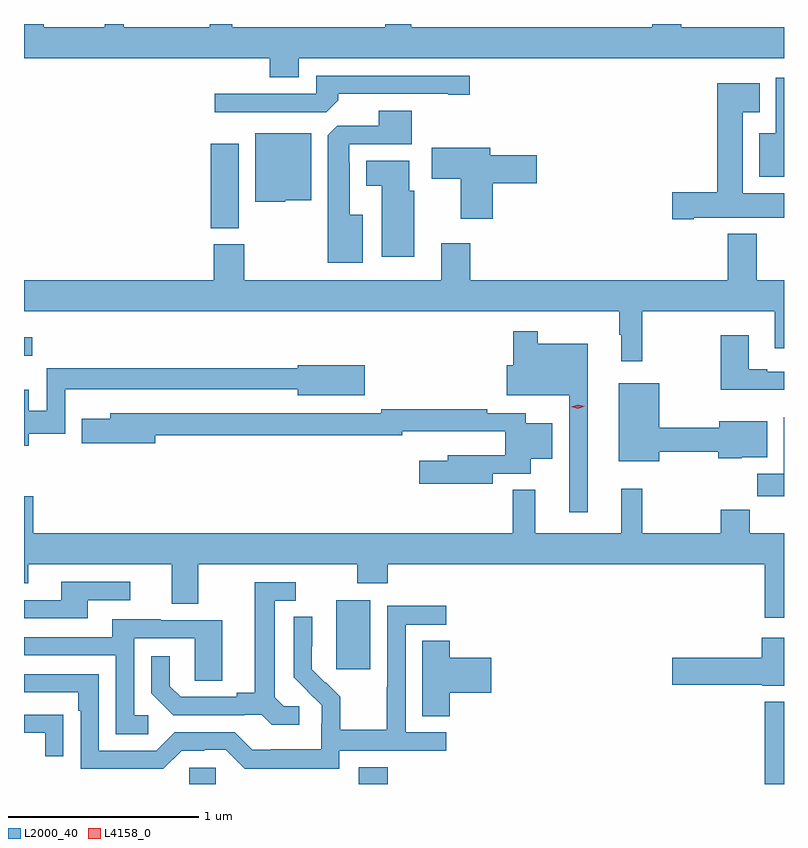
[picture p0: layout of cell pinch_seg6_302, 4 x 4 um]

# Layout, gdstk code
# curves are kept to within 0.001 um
import gdstk
lib = gdstk.Library(unit=1e-6, precision=1e-09)
def R(c, l, rs):  # rectangles x0, y0, x1, y1
    for r in rs: c.add(gdstk.rectangle(r[:2], r[2:], *l))
def P(c, l, *ps):  # polygons
    for p in ps: c.add(gdstk.Polygon(p, *l))
L2000_40 = (2000, 40)
L4158_0 = (4158, 0)

pinch_seg6_302 = lib.new_cell('pinch_seg6_302')
R(pinch_seg6_302, L2000_40, [(662.739,962.164,662.877,962.25), (663.629,962.164,663.782,962.251), (665.766,962.164,665.868,962.596), (663.512,962.769,663.691,963.13), (661.868,964.419,661.912,964.516), (662.852,965.089,662.998,965.533)])
P(pinch_seg6_302, L2000_40, [(663.313,965.984),(665.868,965.984),(665.868,966.148),(665.326,966.148),(665.326,966.164),(665.174,966.164),(665.174,966.148),(663.905,966.148),(663.905,966.164),(663.769,966.164),(663.769,966.148),(662.963,966.148),(662.963,966.164),(662.846,966.164),(662.846,966.148),(662.393,966.148),(662.393,966.164),(662.293,966.164),(662.293,966.148),(661.971,966.148),(661.971,966.164),(661.868,966.164),(661.868,965.984),(663.161,965.984),(663.161,965.885),(663.313,965.885)],
  [(663.521,965.762),(663.521,965.796),(664.1,965.796),(664.1,965.791),(664.213,965.791),(664.213,965.892),(663.405,965.892),(663.405,965.796),(662.871,965.796),(662.871,965.7),(663.459,965.7)],
  [(665.868,965.881),(665.825,965.881),(665.825,965.59),(665.738,965.59),(665.738,965.36),(665.868,965.36)],
  [(665.392,965.144),(665.868,965.144),(665.868,965.272),(665.65,965.272),(665.65,965.699),(665.74,965.699),(665.74,965.851),(665.516,965.851),(665.516,965.279),(665.28,965.279),(665.28,965.137),(665.392,965.137)],
  [(663.652,965.161),(663.583,965.161),(663.583,965.435),(663.579,965.435),(663.579,965.532),(663.91,965.532),(663.91,965.707),(663.734,965.707),(663.734,965.628),(663.516,965.628),(663.467,965.579),(663.467,964.907),(663.652,964.907)],
  [(663.243,965.237),(663.379,965.237),(663.379,965.59),(663.086,965.59),(663.086,965.228),(663.243,965.228)],
  [(664.334,965.327),(664.567,965.327),(664.567,965.474),(664.321,965.474),(664.321,965.512),(664.014,965.512),(664.014,965.35),(664.166,965.35),(664.166,965.139),(664.334,965.139)],
  [(663.922,965.286),(663.895,965.286),(663.895,965.443),(663.668,965.443),(663.668,965.312),(663.752,965.312),(663.752,964.938),(663.922,964.938)],
  [(665.001,964.529),(665.012,964.529),(665.012,964.389),(665.122,964.389),(665.122,964.652),(665.819,964.652),(665.819,964.458),(665.868,964.458),(665.868,964.816),(665.725,964.816),(665.725,965.059),(665.573,965.059),(665.573,964.816),(664.217,964.816),(664.217,965.011),(664.064,965.011),(664.064,964.816),(663.027,964.816),(663.027,965.004),(662.867,965.004),(662.867,964.816),(661.868,964.816),(661.868,964.652),(665.001,964.652)],
  [(664.834,964.48),(664.573,964.48),(664.573,964.546),(664.444,964.546),(664.444,964.369),(664.41,964.369),(664.41,964.211),(664.737,964.211),(664.737,963.594),(664.834,963.594)],
  [(665.868,964.335),(665.779,964.335),(665.779,964.348),(665.683,964.348),(665.683,964.525),(665.536,964.525),(665.536,964.238),(665.868,964.238)],
  [(661.894,964.008),(662.085,964.008),(662.085,964.242),(663.308,964.242),(663.308,964.211),(663.661,964.211),(663.661,964.369),(663.308,964.369),(663.308,964.351),(661.989,964.351),(661.989,964.129),(661.894,964.129),(661.894,964.24),(661.868,964.24),(661.868,963.944),(661.894,963.944)],
  [(665.212,963.912),(665.521,963.912),(665.521,963.878),(665.646,963.878),(665.646,963.884),(665.779,963.884),(665.779,964.072),(665.528,964.072),(665.528,964.04),(665.212,964.04),(665.212,964.273),(664.997,964.273),(664.997,963.863),(665.212,963.863)],
  [(664.336,963.798),(664.534,963.798),(664.534,963.875),(664.648,963.875),(664.648,964.063),(664.509,964.063),(664.509,964.116),(664.306,964.116),(664.306,964.136),(663.748,964.136),(663.748,964.116),(662.321,964.116),(662.321,964.087),(662.172,964.087),(662.172,963.958),(662.56,963.958),(662.56,964),(663.86,964),(663.86,964.02),(664.401,964.02),(664.401,963.894),(664.097,963.894),(664.097,963.865),(663.948,963.865),(663.948,963.743),(664.336,963.743)],
  [(665.868,964.093),(665.867,964.093),(665.867,963.796),(665.728,963.796),(665.728,963.678),(665.868,963.678)],
  [(665.868,963.484),(665.687,963.484),(665.687,963.608),(665.536,963.608),(665.536,963.484),(665.122,963.484),(665.122,963.718),(665.012,963.718),(665.012,963.484),(664.559,963.484),(664.559,963.713),(664.441,963.713),(664.441,963.484),(661.916,963.484),(661.916,963.679),(661.868,963.679),(661.868,963.221),(661.891,963.221),(661.891,963.32),(662.645,963.32),(662.645,963.112),(662.785,963.112),(662.785,963.32),(663.622,963.32),(663.622,963.221),(663.782,963.221),(663.782,963.32),(665.766,963.32),(665.766,963.039),(665.868,963.039)],
  [(662.203,963.132),(662.428,963.132),(662.428,963.228),(662.063,963.228),(662.063,963.132),(661.868,963.132),(661.868,963.036),(662.203,963.036)],
  [(663.316,962.574),(663.234,962.574),(663.187,962.621),(663.187,963.129),(663.298,963.129),(663.298,963.225),(663.083,963.225),(663.083,962.645),(662.987,962.645),(662.987,962.622),(662.692,962.622),(662.635,962.679),(662.635,962.836),(662.538,962.836),(662.538,962.642),(662.654,962.526),(663.026,962.526),(663.026,962.529),(663.12,962.529),(663.172,962.477),(663.316,962.477)],
  [(663.528,962.34),(664.09,962.34),(664.09,962.436),(663.876,962.436),(663.876,963.003),(664.09,963.003),(664.09,963.102),(663.78,963.102),(663.78,962.672),(663.778,962.672),(663.778,962.449),(663.533,962.449),(663.533,962.623),(663.456,962.7),(663.453,962.697),(663.383,962.768),(663.384,963.044),(663.288,963.044),(663.288,962.726),(663.434,962.578),(663.434,962.481),(663.432,962.481),(663.432,962.347),(663.169,962.347),(663.169,962.343),(663.069,962.343),(662.976,962.436),(662.661,962.436),(662.565,962.34),(662.262,962.34),(662.262,962.742),(661.868,962.742),(661.868,962.646),(662.153,962.646),(662.153,962.549),(662.166,962.549),(662.166,962.244),(662.601,962.244),(662.697,962.34),(662.816,962.34),(662.816,962.343),(662.931,962.343),(663.031,962.243),(663.528,962.243)],
  [(662.521,962.526),(662.448,962.526),(662.448,962.931),(662.766,962.931),(662.766,962.707),(662.911,962.707),(662.911,963.027),(662.587,963.027),(662.587,963.031),(662.333,963.031),(662.333,962.937),(661.868,962.937),(661.868,962.841),(662.352,962.841),(662.352,962.425),(662.521,962.425)],
  [(665.868,962.935),(665.75,962.935),(665.75,962.829),(665.28,962.829),(665.28,962.687),(665.754,962.687),(665.754,962.681),(665.868,962.681)],
  [(664.109,962.645),(664.327,962.645),(664.327,962.828),(664.109,962.828),(664.109,962.918),(663.965,962.918),(663.965,962.521),(664.109,962.521)],
  [(662.075,962.528),(661.973,962.528),(661.973,962.529),(661.868,962.529),(661.868,962.433),(661.979,962.433),(661.979,962.31),(662.075,962.31)])
P(pinch_seg6_302, L4158_0, [(664.783,964.14),(664.747,964.149),(664.747,964.149),(664.747,964.149),(664.782,964.16),(664.818,964.152),(664.818,964.152),(664.818,964.152)])

lib.write_gds('pinch_seg6_302.gds')
